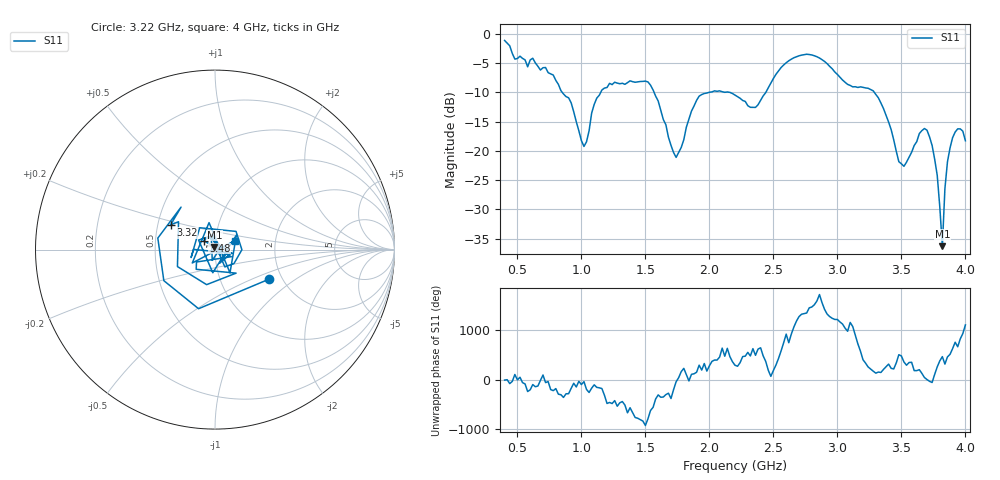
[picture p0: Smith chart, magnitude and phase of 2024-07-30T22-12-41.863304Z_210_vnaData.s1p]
!Created with skrf (http://scikit-rf.org).
# Hz S RI R 50.0
!freq ReS11 ImS11
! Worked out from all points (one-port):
!   181 points, 400 MHz to 4 GHz, reference 50 ohm
!   lowest |S11| = -36.3 dB at 3.82 GHz (marker M1), VSWR 1.03, Z = 49.6 + j1.49 ohm
!   |S11| at or under -10 dB: 849.5 MHz to 1.151 GHz (301.9 MHz wide, 30.2 % of centre); 1.567 GHz to 2.002 GHz (434.5 MHz wide, 24.3 % of centre); 3.288 GHz to end of sweep (the widest 3 of 5)
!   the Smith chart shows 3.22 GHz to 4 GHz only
!   S11 on the Smith chart (normalised r, x): 3.22 GHz: 1.72, -0.64; 3.32 GHz: 0.58, +0.17; 3.48 GHz: 0.88, +0.09; 4 GHz: 1.24, +0.13
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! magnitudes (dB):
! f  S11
! 400 MHz  -1.2
! 720 MHz  -5.8
! 860 MHz  -10.3
! 920 MHz  -11.8
! 1.02 GHz  -19.3
! 1.12 GHz  -11.0
! 1.3 GHz  -8.5
! 1.52 GHz  -8.2
! 1.72 GHz  -20.3
! 1.76 GHz  -20.3
! 1.92 GHz  -10.7
! 2.2 GHz  -10.5
! 2.36 GHz  -12.6
! 2.66 GHz  -4.1
! 2.84 GHz  -3.9
! 3.1 GHz  -8.8
! 3.22 GHz  -9.3
! 3.32 GHz  -11.0
! 3.48 GHz  -21.9
! 3.56 GHz  -21.1
! 3.66 GHz  -16.6
! 3.72 GHz  -17.6
! 3.78 GHz  -24.2
! 3.82 GHz  -36.3
! 3.84 GHz  -26.5
! 3.88 GHz  -19.5
! 3.94 GHz  -16.3
! 4 GHz  -18.3
